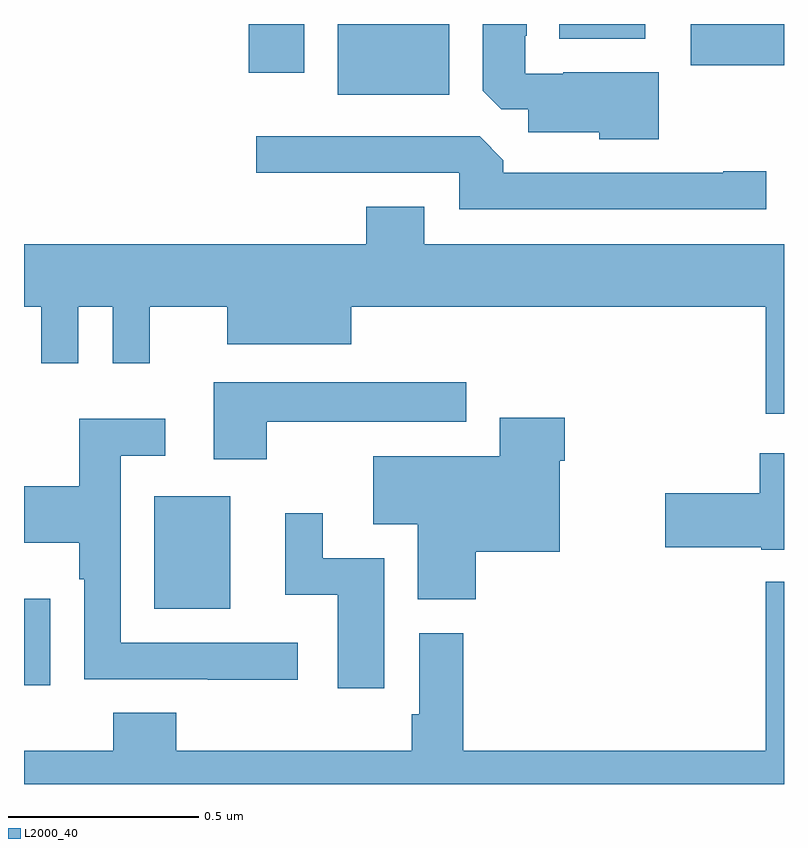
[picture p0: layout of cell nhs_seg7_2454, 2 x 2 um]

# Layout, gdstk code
import gdstk
lib = gdstk.Library(unit=1e-6, precision=1e-09)
def R(c, l, rs):  # rectangles x0, y0, x1, y1
    for r in rs: c.add(gdstk.rectangle(r[:2], r[2:], *l))
def P(c, l, *ps):  # polygons
    for p in ps: c.add(gdstk.Polygon(p, *l))
L2000_40 = (2000, 40)

nhs_seg7_2454 = lib.new_cell('nhs_seg7_2454')
R(nhs_seg7_2454, L2000_40, [(145,1026.26,145.069,1026.487), (145.343,1026.461,145.543,1026.757), (145.826,1027.814,146.119,1028), (145.592,1027.872,145.738,1028), (146.754,1027.892,147,1028), (146.408,1027.961,146.635,1028)])
P(nhs_seg7_2454, L2000_40, [(146.671,1027.873),(146.419,1027.873),(146.419,1027.869),(146.319,1027.869),(146.319,1027.969),(146.323,1027.969),(146.323,1028),(146.207,1028),(146.207,1027.825),(146.256,1027.776),(146.327,1027.776),(146.327,1027.715),(146.514,1027.715),(146.514,1027.697),(146.671,1027.697)],
  [(146.953,1027.613),(146.84,1027.613),(146.84,1027.608),(146.261,1027.608),(146.261,1027.642),(146.199,1027.704),(145.611,1027.704),(145.611,1027.608),(146.145,1027.608),(146.145,1027.512),(146.953,1027.512)],
  [(147,1027.42),(146.053,1027.42),(146.053,1027.519),(145.901,1027.519),(145.901,1027.42),(145,1027.42),(145,1027.256),(145.046,1027.256),(145.046,1027.107),(145.143,1027.107),(145.143,1027.256),(145.233,1027.256),(145.233,1027.107),(145.331,1027.107),(145.331,1027.256),(145.535,1027.256),(145.535,1027.157),(145.861,1027.157),(145.861,1027.256),(146.952,1027.256),(146.952,1026.975),(147,1026.975)],
  [(145.639,1026.953),(146.164,1026.953),(146.164,1027.057),(145.499,1027.057),(145.499,1026.855),(145.639,1026.855)],
  [(146.189,1026.611),(146.41,1026.611),(146.41,1026.851),(146.423,1026.851),(146.423,1026.964),(146.252,1026.964),(146.252,1026.862),(145.919,1026.862),(145.919,1026.683),(146.036,1026.683),(146.036,1026.486),(146.189,1026.486)],
  [(145.72,1026.372),(145.254,1026.372),(145.254,1026.864),(145.372,1026.864),(145.372,1026.961),(145.146,1026.961),(145.146,1026.783),(145,1026.783),(145,1026.635),(145.146,1026.635),(145.146,1026.539),(145.158,1026.539),(145.158,1026.276),(145.483,1026.276),(145.483,1026.275),(145.72,1026.275)],
  [(147,1026.871),(146.936,1026.871),(146.936,1026.765),(146.688,1026.765),(146.688,1026.623),(146.94,1026.623),(146.94,1026.617),(147,1026.617)],
  [(145.948,1026.594),(145.786,1026.594),(145.786,1026.712),(145.688,1026.712),(145.688,1026.498),(145.826,1026.498),(145.826,1026.252),(145.948,1026.252)],
  [(147,1026.532),(146.952,1026.532),(146.952,1026.088),(146.156,1026.088),(146.156,1026.397),(146.04,1026.397),(146.04,1026.184),(146.02,1026.184),(146.02,1026.088),(145.4,1026.088),(145.4,1026.187),(145.235,1026.187),(145.235,1026.088),(145,1026.088),(145,1026),(147,1026)])

lib.write_gds('nhs_seg7_2454.gds')
